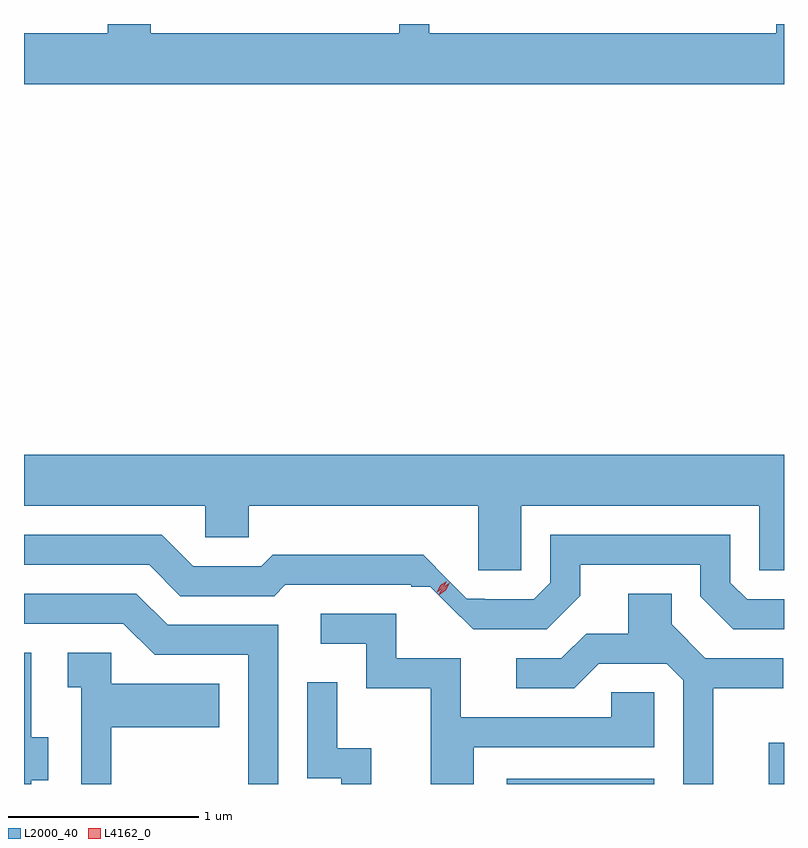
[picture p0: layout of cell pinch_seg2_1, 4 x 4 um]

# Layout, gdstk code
import gdstk
lib = gdstk.Library(unit=1e-6, precision=1e-09)
def R(c, l, rs):  # rectangles x0, y0, x1, y1
    for r in rs: c.add(gdstk.rectangle(r[:2], r[2:], *l))
def P(c, l, *ps):  # polygons
    for p in ps: c.add(gdstk.Polygon(p, *l))
L2000_40 = (2000, 40)
L4162_0 = (4162, 0)

pinch_seg2_1 = lib.new_cell('pinch_seg2_1')
R(pinch_seg2_1, L2000_40, [(1907.231,1002.452,1908.009,1002.479), (1908.611,1002.452,1908.691,1002.669)])
P(pinch_seg2_1, L2000_40, [(1908.691,1006.452),(1908.651,1006.452),(1908.651,1006.404),(1906.824,1006.404),(1906.824,1006.452),(1906.666,1006.452),(1906.666,1006.404),(1905.359,1006.404),(1905.359,1006.452),(1905.131,1006.452),(1905.131,1006.404),(1904.691,1006.404),(1904.691,1006.136),(1908.691,1006.136)],
  [(1907.309,1003.916),(1908.561,1003.916),(1908.561,1003.576),(1908.691,1003.576),(1908.691,1004.184),(1904.691,1004.184),(1904.691,1003.916),(1905.646,1003.916),(1905.646,1003.751),(1905.874,1003.751),(1905.874,1003.916),(1907.081,1003.916),(1907.081,1003.576),(1907.309,1003.576)],
  [(1907.619,1003.444),(1907.619,1003.606),(1908.251,1003.606),(1908.251,1003.439),(1908.424,1003.266),(1908.691,1003.266),(1908.691,1003.424),(1908.497,1003.424),(1908.409,1003.512),(1908.409,1003.764),(1907.461,1003.764),(1907.461,1003.512),(1907.374,1003.424),(1907.115,1003.424),(1907.115,1003.426),(1907.021,1003.426),(1906.857,1003.59),(1906.859,1003.592),(1906.792,1003.659),(1905.999,1003.659),(1905.939,1003.599),(1905.582,1003.599),(1905.417,1003.764),(1904.691,1003.764),(1904.691,1003.606),(1905.349,1003.606),(1905.514,1003.441),(1906.007,1003.441),(1906.067,1003.501),(1906.729,1003.501),(1906.729,1003.49),(1906.829,1003.49),(1906.986,1003.333),(1906.987,1003.335),(1907.056,1003.266),(1907.442,1003.266)],
  [(1906.029,1003.289),(1905.447,1003.289),(1905.282,1003.454),(1904.691,1003.454),(1904.691,1003.296),(1905.214,1003.296),(1905.379,1003.131),(1905.871,1003.131),(1905.871,1002.452),(1906.029,1002.452)],
  [(1908.319,1002.956),(1908.688,1002.956),(1908.688,1003.114),(1908.277,1003.114),(1908.099,1003.292),(1908.099,1003.454),(1907.871,1003.454),(1907.871,1003.244),(1907.649,1003.244),(1907.519,1003.114),(1907.283,1003.114),(1907.283,1002.956),(1907.587,1002.956),(1907.717,1003.086),(1908.074,1003.086),(1908.161,1002.999),(1908.161,1002.452),(1908.319,1002.452)],
  [(1907.059,1002.646),(1908.009,1002.646),(1908.009,1002.934),(1907.781,1002.934),(1907.781,1002.804),(1906.989,1002.804),(1906.989,1003.114),(1906.649,1003.114),(1906.649,1003.349),(1906.253,1003.349),(1906.253,1003.191),(1906.491,1003.191),(1906.491,1002.956),(1906.831,1002.956),(1906.831,1002.452),(1907.059,1002.452)],
  [(1905.149,1002.751),(1905.719,1002.751),(1905.719,1002.979),(1905.149,1002.979),(1905.149,1003.144),(1904.921,1003.144),(1904.921,1002.961),(1904.991,1002.961),(1904.991,1002.452),(1905.149,1002.452)],
  [(1904.729,1002.471),(1904.819,1002.471),(1904.819,1002.699),(1904.729,1002.699),(1904.729,1003.144),(1904.691,1003.144),(1904.691,1002.452),(1904.729,1002.452)],
  [(1906.519,1002.639),(1906.339,1002.639),(1906.339,1002.988),(1906.181,1002.988),(1906.181,1002.481),(1906.361,1002.481),(1906.361,1002.452),(1906.519,1002.452)])
P(pinch_seg2_1, L4162_0, [(1906.873,1003.446),(1906.873,1003.447),(1906.895,1003.486),(1906.932,1003.512),(1906.932,1003.512),(1906.932,1003.512),(1906.91,1003.473),(1906.874,1003.446)],
  [(1906.865,1003.462),(1906.865,1003.463),(1906.883,1003.497),(1906.915,1003.519),(1906.916,1003.519),(1906.916,1003.518),(1906.898,1003.484),(1906.866,1003.462)])

lib.write_gds('pinch_seg2_1.gds')
